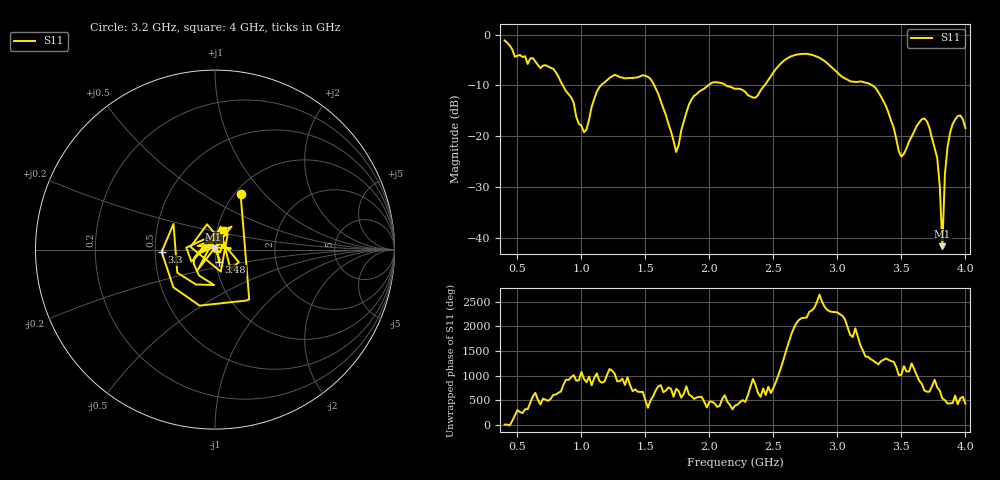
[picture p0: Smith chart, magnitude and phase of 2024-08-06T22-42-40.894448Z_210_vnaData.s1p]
!Created with skrf (http://scikit-rf.org).
# Hz S RI R 50.0
!freq ReS11 ImS11
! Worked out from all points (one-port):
!   181 points, 400 MHz to 4 GHz, reference 50 ohm
!   lowest |S11| = -41.6 dB at 3.82 GHz (marker M1), VSWR 1.02, Z = 49.2 + j0.136 ohm
!   |S11| at or under -10 dB: 855.3 MHz to 1.152 GHz (296.8 MHz wide, 29.6 % of centre); 1.57 GHz to 1.99 GHz (419.8 MHz wide, 23.6 % of centre); 3.274 GHz to end of sweep (the widest 3 of 4)
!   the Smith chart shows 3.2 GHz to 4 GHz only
!   S11 on the Smith chart (normalised r, x): 3.2 GHz: 1.06, +0.75; 3.3 GHz: 0.54, -0.01; 3.48 GHz: 1.03, -0.14; 4 GHz: 1.07, +0.24
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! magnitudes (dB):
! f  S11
! 400 MHz  -1.1
! 860 MHz  -10.2
! 1.02 GHz  -19.2
! 1.14 GHz  -10.3
! 1.3 GHz  -8.4
! 1.54 GHz  -8.7
! 1.74 GHz  -23.1
! 1.76 GHz  -21.7
! 1.88 GHz  -12.1
! 2.04 GHz  -9.3
! 2.2 GHz  -10.7
! 2.36 GHz  -12.4
! 2.66 GHz  -4.1
! 3.1 GHz  -9.2
! 3.2 GHz  -9.3
! 3.3 GHz  -10.5
! 3.4 GHz  -15.4
! 3.48 GHz  -23.0
! 3.56 GHz  -21.0
! 3.66 GHz  -16.6
! 3.72 GHz  -18.4
! 3.78 GHz  -24.3
! 3.8 GHz  -29.8
! 3.82 GHz  -41.6
! 3.84 GHz  -27.5
! 3.88 GHz  -19.3
! 3.94 GHz  -16.0
! 4 GHz  -18.4
